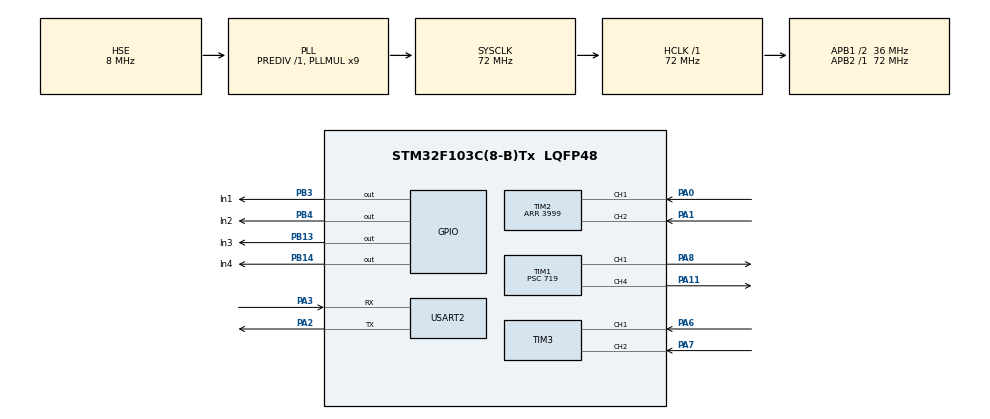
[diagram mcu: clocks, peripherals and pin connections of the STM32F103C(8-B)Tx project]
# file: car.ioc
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Mcu.Family=STM32F1
Mcu.Name=STM32F103C(8-B)Tx
Mcu.Package=LQFP48
NVIC.PriorityGroup=NVIC_PRIORITYGROUP_4
NVIC.TIM2_IRQn=true\:0\:0\:false\:false\:true\:true\:true\:true
NVIC.TIM3_IRQn=true\:0\:0\:false\:false\:true\:true\:true\:true
NVIC.TIM4_IRQn=true\:0\:0\:false\:false\:true\:true\:true\:true
NVIC.USART2_IRQn=true\:0\:0\:false\:false\:true\:true\:true\:true
PA0-WKUP.Signal=S_TIM2_CH1_ETR
PA1.Signal=S_TIM2_CH2
PA11.Signal=S_TIM1_CH4
PA13.Mode=Serial_Wire
PA13.Signal=SYS_JTMS-SWDIO
PA14.Mode=Serial_Wire
PA14.Signal=SYS_JTCK-SWCLK
PA2.Mode=Asynchronous
PA2.Signal=USART2_TX
PA3.Mode=Asynchronous
PA3.Signal=USART2_RX
PA6.Signal=S_TIM3_CH1
PA7.Signal=S_TIM3_CH2
PA8.Signal=S_TIM1_CH1
PB13.GPIO_Label=In3
PB13.Signal=GPIO_Output
PB14.GPIO_Label=In4
PB14.Signal=GPIO_Output
PB3.GPIO_Label=In1
PB3.Signal=GPIO_Output
PB4.GPIO_Label=In2
PB4.Signal=GPIO_Output
PD0-OSC_IN.Mode=HSE-External-Oscillator
PD0-OSC_IN.Signal=RCC_OSC_IN
PD1-OSC_OUT.Mode=HSE-External-Oscillator
PD1-OSC_OUT.Signal=RCC_OSC_OUT
ProjectManager.HeapSize=0x200
ProjectManager.StackSize=0x400
ProjectManager.TargetToolchain=Makefile
RCC.AHBFreq_Value=72000000
RCC.APB1CLKDivider=RCC_HCLK_DIV2
RCC.APB1Freq_Value=36000000
RCC.APB1TimFreq_Value=72000000
RCC.APB2Freq_Value=72000000
RCC.APB2TimFreq_Value=72000000
RCC.HCLKFreq_Value=72000000
RCC.PLLMUL=RCC_PLL_MUL9
RCC.PLLSourceVirtual=RCC_PLLSOURCE_HSE
RCC.SYSCLKFreq_VALUE=72000000
RCC.SYSCLKSource=RCC_SYSCLKSOURCE_PLLCLK
RCC.USBFreq_Value=72000000
SH.S_TIM1_CH1.0=TIM1_CH1,PWM Generation1 CH1
SH.S_TIM1_CH4.0=TIM1_CH4,PWM Generation4 CH4
SH.S_TIM2_CH1_ETR.0=TIM2_CH1,Encoder_Interface
SH.S_TIM2_CH2.0=TIM2_CH2,Encoder_Interface
SH.S_TIM3_CH1.0=TIM3_CH1,Encoder_Interface
SH.S_TIM3_CH2.0=TIM3_CH2,Encoder_Interface
TIM1.Channel-PWM\ Generation1\ CH1=TIM_CHANNEL_1
TIM1.Channel-PWM\ Generation4\ CH4=TIM_CHANNEL_4
TIM1.Period=100
TIM1.Prescaler=719
TIM2.Period=3999
USART2.VirtualMode=VM_ASYNC
VP_TIM4_VS_ClockSourceINT.Mode=Internal
board=custom

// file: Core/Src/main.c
/* USER CODE BEGIN Header */
/**
  ******************************************************************************
  * @file           : main.c
  * @brief          : Main program body
  ******************************************************************************
  * @attention
  *
  * Copyright (c) 2024 STMicroelectronics.
  * All rights reserved.
  *
  * This software is licensed under terms that can be found in the LICENSE file
  * in the root directory of this software component.
  * If no LICENSE file comes with this software, it is provided AS-IS.
  *
  ******************************************************************************
  */
/* USER CODE END Header */
#include "main.h"
#include "tim.h"
#include "usart.h"
#include "gpio.h"

/* USER CODE BEGIN PD */
void move(int speed) {
  if (speed>0) {
    HAL_GPIO_WritePin(GPIOB, GPIO_PIN_3, 0);
    HAL_GPIO_WritePin(GPIOB, GPIO_PIN_4, 1);
    HAL_GPIO_WritePin(GPIOB, GPIO_PIN_13, 0);
    HAL_GPIO_WritePin(GPIOB, GPIO_PIN_14, 1);
    TIM1->CCR4 = speed;
    TIM1->CCR1 = speed;
  } else {
    HAL_GPIO_WritePin(GPIOB, GPIO_PIN_3, 1);
    HAL_GPIO_WritePin(GPIOB, GPIO_PIN_4, 0);
    HAL_GPIO_WritePin(GPIOB, GPIO_PIN_13, 1);
    HAL_GPIO_WritePin(GPIOB, GPIO_PIN_14, 0);
    TIM1->CCR4 = -speed;
    TIM1->CCR1 = -speed;
  }
}

/* USER CODE END PD */

/* USER CODE BEGIN PV */
uint8_t uartdata[8];
int last_tick=0;
// uint16_t last_yaw_angle = 0;
// uint16_t last_roll_angle = 0;
// uint16_t yaw_angle = 0;
// uint16_t roll_angle = 0;
int pitch_angle = 0;
int pitch_corrected = 0;
int pitch_p_diff = 0;
int pitch_offset = 0;
int time_diff = 0;
// int pitch_last_p=0;
// int pitch_p=0;
// int pitch_i=0;
// int pitch_d=0;
// int left_i = 0;
// int left_d = 0;
// int right_i = 0;
// int right_d = 0;
struct motor {
  int encoder_val;
  int last_speed;
  int current_speed;
  int encoder_last_val;
};
struct motor motor_left;
struct motor motor_right;
struct pid {
  int last_p;
  int p;
  float kp;
  int i;
  float ki;
  int d;
  float kd;
};
struct pid pitch = {.last_p = 0, .i = 0, .kp = 0.12, .ki = 0.01, .kd = 300};
struct pid motor_speed =  {.last_p = 0, .i = 0, .kp = 30, .ki = 0.01, .kd = 40};
// struct pid pitch = {.last_p = 0, .i = 0, .kp = 0.13, .ki = 0.0, .kd = 200};
// struct pid motor_speed =  {.last_p = 0, .i = 0, .kp = 40, .ki = 0.005, .kd = 15};
int velo = 0;
/* USER CODE END PV */

void SystemClock_Config(void);

int main(void)
{

  /* MCU Configuration--------------------------------------------------------*/

  /* Reset of all peripherals, Initializes the Flash interface and the Systick. */
  HAL_Init();

  /* Configure the system clock */
  SystemClock_Config();

  /* Initialize all configured peripherals */
  MX_GPIO_Init();
  MX_TIM1_Init();
  MX_TIM2_Init();
  MX_TIM3_Init();
  MX_USART2_UART_Init();
  MX_TIM4_Init();
  /* USER CODE BEGIN 2 */
  HAL_TIM_PWM_Start(&htim1,TIM_CHANNEL_1);
  HAL_TIM_PWM_Start(&htim1,TIM_CHANNEL_4);
  HAL_TIM_Encoder_Start(&htim2, TIM_CHANNEL_ALL);
  HAL_TIM_Encoder_Start(&htim3, TIM_CHANNEL_ALL);

  HAL_TIM_Base_Start_IT(&htim4);
  HAL_Delay(3000);
  /* USER CODE END 2 */

  /* Infinite loop */
  while (1)
  {

    /* USER CODE BEGIN 3 */
      //Below is the pid
      // move_l(1000);
      // move_r(1000);
      while (pitch_offset == 0)
      {
          HAL_UART_Receive_IT(&huart2, uartdata, 8);
          pitch_offset = pitch_angle;
      }
      while (1) {
        //encode start
        motor_left.encoder_val = __HAL_TIM_GET_COUNTER(&htim2);
        motor_left.current_speed = motor_left.encoder_val - motor_left.encoder_last_val;
        motor_left.encoder_last_val = motor_left.encoder_val;
        motor_right.encoder_val = __HAL_TIM_GET_COUNTER(&htim3);
        motor_right.current_speed = motor_right.encoder_val - motor_right.encoder_last_val;
        motor_right.encoder_last_val = motor_right.encoder_val;
        //encoder end
        HAL_UART_Receive_IT(&huart2, uartdata, 8);
        pitch_corrected = pitch_angle-pitch_offset;
        if (pitch_corrected > (33000)) {pitch_corrected -= 66000;}
        pitch.p = pitch_corrected;
        pitch_p_diff = pitch.p - pitch.last_p;
        time_diff = HAL_GetTick() - last_tick;
        pitch.d = (pitch.p - pitch.last_p)/*/((HAL_GetTick() - last_tick)*0.001)*/;
        if (pitch.i+pitch.p<=5000 && pitch.i+pitch.p>=-5000) {
          pitch.i += pitch.p*0.05;
        } else if (pitch.i+pitch.p>0) {pitch.i = 5000;}
        else {pitch.i = -5000;}
        motor_speed.p = -(motor_left.current_speed + motor_right.current_speed)/2;
        if (motor_speed.i+motor_speed.p<=5000 && motor_speed.i+motor_speed.p>=-5000) {
          motor_speed.i += motor_speed.p;
        } else if (motor_speed.i+motor_speed.p>0) {motor_speed.i = 5000;}
        else {motor_speed.i = -5000;}
        motor_speed.d = (motor_speed.p - motor_speed.last_p)/((HAL_GetTick()-last_tick)*0.001);
        velo = 0.5*(4*(pitch.kp * pitch.p + pitch.ki * pitch.i + pitch.kd * pitch.d) + 1.75* (motor_speed.kp * motor_speed.p + motor_speed.ki * motor_speed.i + motor_speed.kd * motor_speed.d));
        move(velo);
        pitch.last_p = pitch.p;
        motor_speed.last_p = motor_speed.p;
        last_tick = HAL_GetTick();
        HAL_Delay(2);
      }
  }
  /* USER CODE END 3 */
}

void SystemClock_Config(void)
{
  RCC_OscInitTypeDef RCC_OscInitStruct = {0};
  RCC_ClkInitTypeDef RCC_ClkInitStruct = {0};

  /** Initializes the RCC Oscillators according to the specified parameters
  * in the RCC_OscInitTypeDef structure.
  */
  RCC_OscInitStruct.OscillatorType = RCC_OSCILLATORTYPE_HSE;
  RCC_OscInitStruct.HSEState = RCC_HSE_ON;
  RCC_OscInitStruct.HSEPredivValue = RCC_HSE_PREDIV_DIV1;
  RCC_OscInitStruct.HSIState = RCC_HSI_ON;
  RCC_OscInitStruct.PLL.PLLState = RCC_PLL_ON;
  RCC_OscInitStruct.PLL.PLLSource = RCC_PLLSOURCE_HSE;
  RCC_OscInitStruct.PLL.PLLMUL = RCC_PLL_MUL9;
  if (HAL_RCC_OscConfig(&RCC_OscInitStruct) != HAL_OK)
  {
    Error_Handler();
  }

  /** Initializes the CPU, AHB and APB buses clocks
  */
  RCC_ClkInitStruct.ClockType = RCC_CLOCKTYPE_HCLK|RCC_CLOCKTYPE_SYSCLK
                              |RCC_CLOCKTYPE_PCLK1|RCC_CLOCKTYPE_PCLK2;
  RCC_ClkInitStruct.SYSCLKSource = RCC_SYSCLKSOURCE_PLLCLK;
  RCC_ClkInitStruct.AHBCLKDivider = RCC_SYSCLK_DIV1;
  RCC_ClkInitStruct.APB1CLKDivider = RCC_HCLK_DIV2;
  RCC_ClkInitStruct.APB2CLKDivider = RCC_HCLK_DIV1;

  if (HAL_RCC_ClockConfig(&RCC_ClkInitStruct, FLASH_LATENCY_2) != HAL_OK)
  {
    Error_Handler();
  }
}

void Error_Handler(void)
{
  __disable_irq();
  while (1)
  {
  }
}
